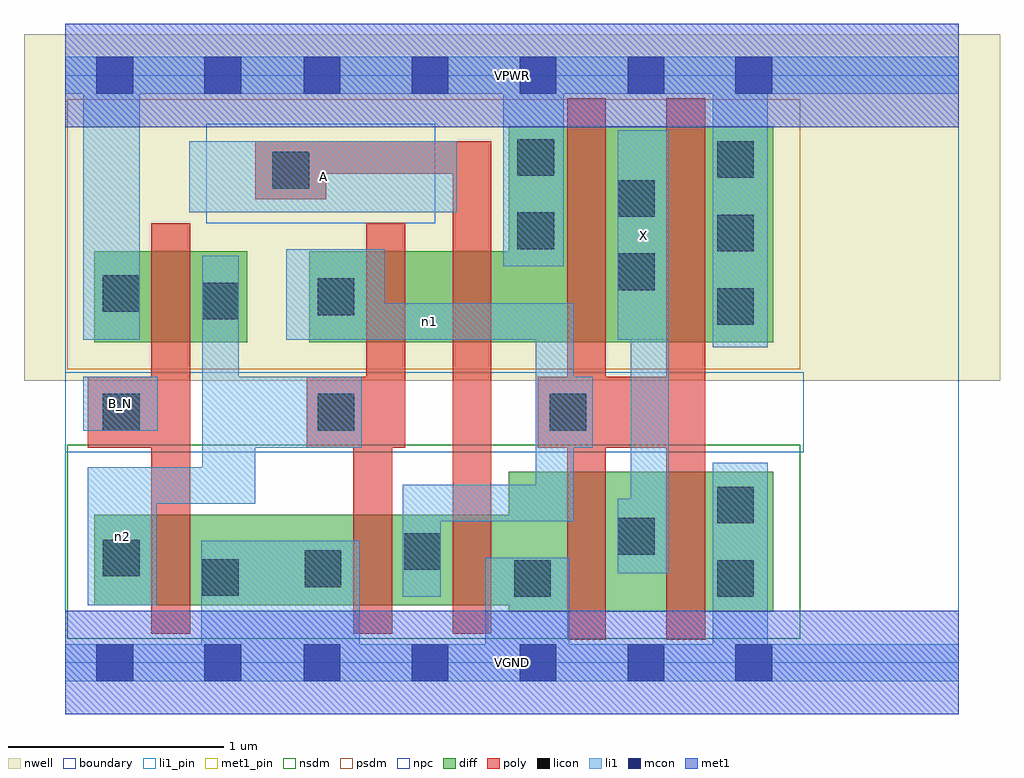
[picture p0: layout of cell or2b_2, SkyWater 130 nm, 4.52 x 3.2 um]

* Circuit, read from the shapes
.subckt or2b_2 A B_N VGND VPWR X n1 n2
XM1 VGND B_N n2 VSUBS sky130_fd_pr__nfet_01v8 w=0.42 l=0.18
XM2 n1 n2 VGND VSUBS sky130_fd_pr__nfet_01v8 w=0.42 l=0.18
XM3 VGND A n1 VSUBS sky130_fd_pr__nfet_01v8 w=0.42 l=0.18
XM4 X n1 VGND VSUBS sky130_fd_pr__nfet_01v8 w=0.65 l=0.18 m=2
XM5 n2 B_N VPWR n3 sky130_fd_pr__pfet_01v8 w=0.42 l=0.18
XM6 n4 n2 n1 n3 sky130_fd_pr__pfet_01v8 w=0.42 l=0.18
XM7 VPWR A n4 n3 sky130_fd_pr__pfet_01v8 w=0.42 l=0.18
XM8 X n1 VPWR n3 sky130_fd_pr__pfet_01v8 w=1 l=0.18 m=2
.ends

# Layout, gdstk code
import gdstk
lib = gdstk.Library(unit=1e-6, precision=1e-09)
def R(c, l, rs):  # rectangles x0, y0, x1, y1
    for r in rs: c.add(gdstk.rectangle(r[:2], r[2:], *l))
def A(c, l, x, y, w, h, nx, ny, dx, dy):  # array of equal rectangles
    R(c, l, [(x+i*dx, y+j*dy, x+i*dx+w, y+j*dy+h) for i in range(nx) for j in range(ny)])
nwell = (64, 20)
diff = (65, 20)
poly = (66, 20)
licon = (66, 44)
li1_pin = (67, 16)
li1 = (67, 20)
mcon = (67, 44)
met1_pin = (68, 16)
met1 = (68, 20)
nsdm = (93, 44)
psdm = (94, 20)
npc = (95, 20)
boundary = (235, 4)

or2b_2 = lib.new_cell('or2b_2')
R(or2b_2, nwell, [(-0.19,1.305,4.33,2.91), (0,1.305,4.14,2.91)])
R(or2b_2, diff, [(2.055,0.235,3.28,0.885), (0.135,0.265,3.28,0.685), (0.135,1.485,0.845,1.905), (1.13,1.485,3.28,1.905), (2.055,1.485,3.28,2.485)])
R(or2b_2, poly, [(2.325,0.105,2.505,2.615), (2.785,0.105,2.965,2.615), (0.4,0.135,0.58,2.035), (1.335,0.135,1.515,1.325), (1.795,0.135,1.975,2.415), (0.105,0.995,0.58,1.325), (1.12,0.995,1.575,1.325), (1.395,0.995,1.575,2.035), (2.19,0.995,2.965,1.325), (0.88,2.145,1.21,2.415), (0.88,2.265,1.975,2.415)])
A(or2b_2, licon, 3.02, 1.565, 0.17, 0.17, 1, 3, 0, 0.34)
R(or2b_2, licon, [(2.08,0.305,2.25,0.475), (3.02,0.305,3.19,0.475), (0.635,0.31,0.805,0.48), (1.11,0.35,1.28,0.52), (0.175,0.4,0.345,0.57), (1.57,0.43,1.74,0.6), (2.56,0.5,2.73,0.67), (3.02,0.645,3.19,0.815), (0.175,1.075,0.345,1.245), (1.17,1.075,1.34,1.245), (2.245,1.075,2.415,1.245), (0.635,1.59,0.805,1.76), (1.17,1.61,1.34,1.78), (0.175,1.625,0.345,1.795), (2.56,1.725,2.73,1.895), (2.095,1.915,2.265,2.085), (2.56,2.065,2.73,2.235), (0.96,2.195,1.13,2.365), (2.095,2.255,2.265,2.425)])
R(or2b_2, li1_pin, [(0.085,1.075,0.43,1.325), (2.56,1.495,2.795,2.465), (0.575,2.085,1.815,2.415)])
R(or2b_2, li1, [(0,-0.085,4.14,0.085), (0.63,-0.085,1.365,0.565), (1.945,-0.085,2.335,0.485), (3,-0.085,3.255,0.925), (0.105,0.265,0.425,0.905), (1.565,0.305,1.74,0.825), (2.56,0.415,2.795,0.76), (2.62,0.415,2.795,2.465), (1.565,0.655,2.355,0.825), (2.18,0.655,2.355,1.665), (0.105,0.735,0.88,0.905), (0.635,0.735,0.805,1.885), (0.635,0.735,0.88,1.325), (0.635,0.995,1.375,1.325), (2.18,0.995,2.445,1.325), (0.085,1.075,0.43,1.325), (3,1.46,3.255,2.805), (0.085,1.495,0.345,2.805), (1.025,1.495,2.355,1.665), (1.025,1.495,1.48,1.915), (2.56,1.495,2.795,2.465), (2.03,1.835,2.31,2.805), (0.575,2.085,1.815,2.415), (0,2.635,4.14,2.805)])
A(or2b_2, mcon, 1.105, -0.085, 0.17, 0.17, 5, 2, 0.5, 2.72)
R(or2b_2, mcon, [(0.145,-0.085,0.315,0.085), (0.645,-0.085,0.815,0.085), (0.145,2.635,0.315,2.805), (0.645,2.635,0.815,2.805)])
R(or2b_2, met1_pin, [(0,-0.24,4.14,0.24), (0,2.48,4.14,2.96)])
R(or2b_2, met1, [(0,-0.24,4.14,0.24), (0,2.48,4.14,2.96)])
R(or2b_2, nsdm, [(0.01,0.11,3.405,1.01)])
R(or2b_2, psdm, [(0.01,1.36,3.405,2.61)])
R(or2b_2, npc, [(0,0.975,3.42,1.345), (0.655,2.035,1.715,2.495)])
R(or2b_2, boundary, [(0,0,4.14,2.72)])
or2b_2.add(gdstk.Label('A', (1.195,2.25), layer=67, texttype=5))
or2b_2.add(gdstk.Label('B_N', (0.257,1.2), layer=67, texttype=5))
or2b_2.add(gdstk.Label('X', (2.677,1.98), layer=67, texttype=5))
or2b_2.add(gdstk.Label('n2', (0.265,0.585), layer=67, texttype=5))
or2b_2.add(gdstk.Label('n1', (1.69,1.58), layer=67, texttype=5))
or2b_2.add(gdstk.Label('VPWR', (2.07,2.72), layer=68, texttype=5))
or2b_2.add(gdstk.Label('VGND', (2.07,0), layer=68, texttype=5))
or2b_2.add(gdstk.Label('A', (1.195,2.25), layer=67, texttype=16))
or2b_2.add(gdstk.Label('B_N', (0.257,1.2), layer=67, texttype=16))
or2b_2.add(gdstk.Label('X', (2.677,1.98), layer=67, texttype=16))
or2b_2.add(gdstk.Label('VPWR', (2.07,2.72), layer=68, texttype=16))
or2b_2.add(gdstk.Label('VGND', (2.07,0), layer=68, texttype=16))

lib.write_gds('or2b_2.gds')
